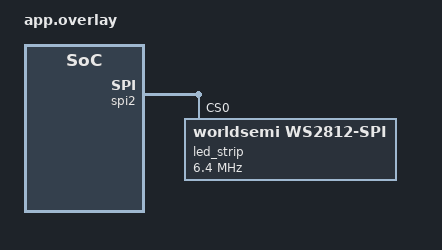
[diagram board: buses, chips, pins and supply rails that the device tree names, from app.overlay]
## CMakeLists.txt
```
cmake_minimum_required(VERSION 3.28.0)

project(atcmd_zephyr_demo LANGUAGES CXX)

message(STATUS "ENV_PATH=$ENV{PATH}")
message(STATUS "ZEPHYR_BASE=$ENV{ZEPHYR_BASE}")

find_package(Zephyr REQUIRED HINTS $ENV{ZEPHYR_BASE})

target_sources(app PRIVATE src/main.cpp
    src/commands/extended/rgb.h src/commands/extended/rgb.cpp
    src/hwserial.h src/hwserial.cpp
    src/atserver.h src/atserver.cpp
    src/bleserial.h src/bleserial.cpp
    src/serial.h src/serial.cpp)

# A workaround to bypass Zephyr`s compiler check
# See: https://github.com/zephyrproject-rtos/zephyr/issues/36558#issuecomment-914038682
set(CMAKE_CXX_COMPILE_FEATURES cxx_std_23)

add_subdirectory(${CMAKE_CURRENT_LIST_DIR}/../../lib atcmd_lib)
target_link_libraries(app PRIVATE atcmd)

target_compile_options(atcmd PUBLIC -std=c++23)
target_link_libraries(atcmd PUBLIC $<BUILD_INTERFACE:zephyr_interface>)


# Flashing the esp32 chip using the west utility
set(ESP_PORT "" CACHE STRING "Serial port for flashing (e.g., /dev/cu.wchusbserial110)")
set(FLASH_ARGS "")
if(NOT "${ESP_PORT}" STREQUAL "")
    set(FLASH_ARGS "--esp-device=${ESP_PORT}")
endif()
install(CODE "
    message(STATUS \"Flashing firmware to device...\")
    execute_process(
        COMMAND west flash --no-rebuild ${FLASH_ARGS}
        WORKING_DIRECTORY ${CMAKE_BINARY_DIR}
    )
" COMPONENT flash)
```

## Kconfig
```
# SPDX-License-Identifier: Apache-2.0

mainmenu "Atcmd Zephyr Example"

module = BLESERIAL
module-str = bleserial
source "subsys/logging/Kconfig.template.log_config"

config $(module)_TX_TIMEOUT
        int "AT command responses are sent after this timeout in ms has expired even if there are no flushing characters"
        default 100

module = HWSERIAL
module-str = hwserial
source "subsys/logging/Kconfig.template.log_config"

# Sources Kconfig.zephyr in the Zephyr root directory.
#
# Note: All 'source' statements work relative to the Zephyr root directory (due
# to the $srctree environment variable being set to $ZEPHYR_BASE). If you want
# to 'source' relative to the current Kconfig file instead, use 'rsource' (or a
# path relative to the Zephyr root).
source "Kconfig.zephyr"
```

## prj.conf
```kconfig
# Enable C++ support in the build system
CONFIG_CPP=y
CONFIG_STD_CPP23=y

# Use the C++ standard library (e.g., std::string, std::vector)
CONFIG_REQUIRES_FULL_LIBCPP=y

# UART IRQ config
CONFIG_UART_INTERRUPT_DRIVEN=y

# RGB LED driver
CONFIG_SPI=y
CONFIG_LED_STRIP=y

# Bluetooth
CONFIG_BT=y
CONFIG_BT_PERIPHERAL=y
CONFIG_BT_DEVICE_NAME="Server"

# Polling API
CONFIG_POLL=y

# Enable logging
CONFIG_LOG=y
CONFIG_BLESERIAL_LOG_LEVEL_DBG=y
CONFIG_HWSERIAL_LOG_LEVEL_DBG=y
```

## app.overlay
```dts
/*
/ {
    test_leds {
        compatible = "gpio-leds";
        pin8: pin_8 {
            gpios = <&gpio0 8 GPIO_ACTIVE_HIGH>;
            label = "Test Pin 8";
        };
    };
    aliases {
        test-pin8 = &pin8;
    };
};
*/

#include <zephyr/dt-bindings/led/led.h>

&spi2 {
	/* Workaround to support WS2812 driver */
	line-idle-low;

	led_strip: ws2812@0 {
		compatible = "worldsemi,ws2812-spi";

		/* SPI */
		reg = <0>; /* ignored, but necessary for SPI bindings */
		spi-max-frequency = <6400000>;

		/* WS2812 */
		chain-length = <1>; /* arbitrary; change at will */
		spi-cpha;
		spi-one-frame = <0xf0>; /* 11110000: 625 ns high and 625 ns low */
		spi-zero-frame = <0xc0>; /* 11000000: 312.5 ns high and 937.5 ns low */
		color-mapping = <LED_COLOR_ID_GREEN
				 LED_COLOR_ID_RED
				 LED_COLOR_ID_BLUE>;
	};
};

&pinctrl {
	spim2_default: spim2_default {
		group2 {
			pinmux = <SPIM2_MOSI_GPIO8>;
		};
	};
};

/ {
	aliases {
		led-strip = &led_strip;
	};
};
```

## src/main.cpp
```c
/**
* Copyright © 2025 Valentin Gorelov
*
* Permission is hereby granted, free of charge, to any person obtaining a copy of this software and associated
* documentation files (the “Software”), to deal in the Software without restriction,
* including without limitation the rights to use, copy, modify, merge, publish, distribute, sublicense,
* and/or sell copies of the Software, and to permit persons to whom the Software is furnished to do so,
* subject to the following conditions:
*
* The above copyright notice and this permission notice
* shall be included in all copies or substantial portions of the Software.
*
* THE SOFTWARE IS PROVIDED “AS IS”, WITHOUT WARRANTY OF ANY KIND, EXPRESS OR IMPLIED,
* INCLUDING BUT NOT LIMITED TO THE WARRANTIES OF MERCHANTABILITY, FITNESS FOR A PARTICULAR PURPOSE AND NONINFRINGEMENT.
* IN NO EVENT SHALL THE AUTHORS OR COPYRIGHT HOLDERS BE LIABLE FOR ANY CLAIM, DAMAGES OR OTHER LIABILITY,
* WHETHER IN AN ACTION OF CONTRACT, TORT OR OTHERWISE, ARISING FROM,
* OUT OF OR IN CONNECTION WITH THE SOFTWARE OR THE USE OR OTHER DEALINGS IN THE SOFTWARE.
*/

/**
 * @brief
 * @author Valentin Gorelov <gorelov.valentin@gmail.com>
 */

#include <zephyr/kernel.h>

#include "atserver.h"
#include "bleserial.h"
#include "hwserial.h"

#define UART_DEVICE_NODE DT_CHOSEN(zephyr_shell_uart)
static const device* const uart_dev = DEVICE_DT_GET(UART_DEVICE_NODE);

K_PIPE_DEFINE(uart_rx_pipe, 128, 1);
K_PIPE_DEFINE(uart_tx_pipe, 128, 1);

K_PIPE_DEFINE(ble_rx_pipe, 128, 1);
K_PIPE_DEFINE(ble_tx_pipe, 128, 1);

static struct k_poll_event events[4] = {
    K_POLL_EVENT_STATIC_INITIALIZER(K_POLL_TYPE_PIPE_DATA_AVAILABLE, K_POLL_MODE_NOTIFY_ONLY, &uart_rx_pipe, 0),
    K_POLL_EVENT_STATIC_INITIALIZER(K_POLL_TYPE_PIPE_DATA_AVAILABLE, K_POLL_MODE_NOTIFY_ONLY, &uart_tx_pipe, 0),
    K_POLL_EVENT_STATIC_INITIALIZER(K_POLL_TYPE_PIPE_DATA_AVAILABLE, K_POLL_MODE_NOTIFY_ONLY, &ble_rx_pipe, 0),
    K_POLL_EVENT_STATIC_INITIALIZER(K_POLL_TYPE_PIPE_DATA_AVAILABLE, K_POLL_MODE_NOTIFY_ONLY, &ble_tx_pipe, 0),
};

int main(void)
{
    AtServer server_serial(uart_rx_pipe, events[0], uart_tx_pipe);
    HwSerial hw_serial(*uart_dev, uart_rx_pipe, uart_tx_pipe, events[1]);

    AtServer server_ble(ble_rx_pipe, events[2], ble_tx_pipe);
    BleSerial hw_ble(server_ble, ble_rx_pipe, ble_tx_pipe, events[3]);

	while (true)
	{
		int rc = k_poll(events, ARRAY_SIZE(events), K_FOREVER);
		if (rc == 0)
		{
            server_serial.processRxData();
            hw_serial.processTxData();

            server_ble.processRxData();
            hw_ble.processTxData();
        }
        events[0].state = K_POLL_STATE_NOT_READY;
        events[1].state = K_POLL_STATE_NOT_READY;
        events[2].state = K_POLL_STATE_NOT_READY;
        events[3].state = K_POLL_STATE_NOT_READY;
    }

	return 0;
}
```

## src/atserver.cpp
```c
/**
 * Copyright © 2026 Valentin Gorelov
 *
 * Permission is hereby granted, free of charge, to any person obtaining a copy of this software and associated
 * documentation files (the “Software”), to deal in the Software without restriction,
 * including without limitation the rights to use, copy, modify, merge, publish, distribute, sublicense,
 * and/or sell copies of the Software, and to permit persons to whom the Software is furnished to do so,
 * subject to the following conditions:
 *
 * The above copyright notice and this permission notice
 * shall be included in all copies or substantial portions of the Software.
 *
 * THE SOFTWARE IS PROVIDED “AS IS”, WITHOUT WARRANTY OF ANY KIND, EXPRESS OR IMPLIED,
 * INCLUDING BUT NOT LIMITED TO THE WARRANTIES OF MERCHANTABILITY, FITNESS FOR A PARTICULAR PURPOSE AND NONINFRINGEMENT.
 * IN NO EVENT SHALL THE AUTHORS OR COPYRIGHT HOLDERS BE LIABLE FOR ANY CLAIM, DAMAGES OR OTHER LIABILITY,
 * WHETHER IN AN ACTION OF CONTRACT, TORT OR OTHERWISE, ARISING FROM,
 * OUT OF OR IN CONNECTION WITH THE SOFTWARE OR THE USE OR OTHER DEALINGS IN THE SOFTWARE.
 */

/**
 * @brief
 * @author Valentin Gorelov <gorelov.valentin@gmail.com>
 */

#include "atserver.h"

AtServer::AtServer(k_pipe& rx_pipe, k_poll_event& rx_event, k_pipe& tx_pipe) :
    Server{printCharCallback, this},
    m_rx_pipe{rx_pipe},
    m_rx_event{rx_event},
    m_tx_pipe{tx_pipe}
{
}

void AtServer::processRxData()
{
    if (m_rx_event.state == K_POLL_STATE_PIPE_DATA_AVAILABLE)
    {
        uint8_t data;
        while (k_pipe_read(&m_rx_pipe, &data, 1, K_NO_WAIT) > 0)
        {
            feed(static_cast<char>(data));
        }
    }
}

void AtServer::printCharCallback(char ch, void* context)
{
    uint8_t vl = ch;
    AtServer* server = static_cast<AtServer*>(context);
    k_pipe_write(&server->m_tx_pipe, &vl, 1, K_NO_WAIT);
}
```

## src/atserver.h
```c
/**
 * Copyright © 2026 Valentin Gorelov
 *
 * Permission is hereby granted, free of charge, to any person obtaining a copy of this software and associated
 * documentation files (the “Software”), to deal in the Software without restriction,
 * including without limitation the rights to use, copy, modify, merge, publish, distribute, sublicense,
 * and/or sell copies of the Software, and to permit persons to whom the Software is furnished to do so,
 * subject to the following conditions:
 *
 * The above copyright notice and this permission notice
 * shall be included in all copies or substantial portions of the Software.
 *
 * THE SOFTWARE IS PROVIDED “AS IS”, WITHOUT WARRANTY OF ANY KIND, EXPRESS OR IMPLIED,
 * INCLUDING BUT NOT LIMITED TO THE WARRANTIES OF MERCHANTABILITY, FITNESS FOR A PARTICULAR PURPOSE AND NONINFRINGEMENT.
 * IN NO EVENT SHALL THE AUTHORS OR COPYRIGHT HOLDERS BE LIABLE FOR ANY CLAIM, DAMAGES OR OTHER LIABILITY,
 * WHETHER IN AN ACTION OF CONTRACT, TORT OR OTHERWISE, ARISING FROM,
 * OUT OF OR IN CONNECTION WITH THE SOFTWARE OR THE USE OR OTHER DEALINGS IN THE SOFTWARE.
 */

/**
 * @brief
 * @author Valentin Gorelov <gorelov.valentin@gmail.com>
 */

#ifndef ATSERVER_H
#define ATSERVER_H

#include <zephyr/kernel.h>

#include "commands/extended/rgb.h"
#include <atcmd/server/server.h>

struct ServerSettings
{
    using BasicCommands = atcmd::server::BasicCommandList<>;
    using AmpersandCommands = atcmd::server::AmpersandCommandList<>;
    using ExtendedCommands = atcmd::server::ExtendedCommandList<Rgb>;

    static constexpr std::size_t max_commands_per_line = 3;
};

struct AtServer : public atcmd::server::Server<ServerSettings>
{
    AtServer(k_pipe& rx_pipe, k_poll_event& rx_event, k_pipe& tx_pipe);

    void processRxData();

private:
    static void printCharCallback(char ch, void* context);

    k_pipe& m_rx_pipe;
    k_poll_event& m_rx_event;

    k_pipe& m_tx_pipe;
};

#endif // ATSERVER_H
```

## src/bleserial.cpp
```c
/**
 * Copyright © 2026 Valentin Gorelov
 *
 * Permission is hereby granted, free of charge, to any person obtaining a copy of this software and associated
 * documentation files (the “Software”), to deal in the Software without restriction,
 * including without limitation the rights to use, copy, modify, merge, publish, distribute, sublicense,
 * and/or sell copies of the Software, and to permit persons to whom the Software is furnished to do so,
 * subject to the following conditions:
 *
 * The above copyright notice and this permission notice
 * shall be included in all copies or substantial portions of the Software.
 *
 * THE SOFTWARE IS PROVIDED “AS IS”, WITHOUT WARRANTY OF ANY KIND, EXPRESS OR IMPLIED,
 * INCLUDING BUT NOT LIMITED TO THE WARRANTIES OF MERCHANTABILITY, FITNESS FOR A PARTICULAR PURPOSE AND NONINFRINGEMENT.
 * IN NO EVENT SHALL THE AUTHORS OR COPYRIGHT HOLDERS BE LIABLE FOR ANY CLAIM, DAMAGES OR OTHER LIABILITY,
 * WHETHER IN AN ACTION OF CONTRACT, TORT OR OTHERWISE, ARISING FROM,
 * OUT OF OR IN CONNECTION WITH THE SOFTWARE OR THE USE OR OTHER DEALINGS IN THE SOFTWARE.
 */

/**
 * @brief
 * @author Valentin Gorelov <gorelov.valentin@gmail.com>
 */

#include "bleserial.h"

#include <zephyr/bluetooth/conn.h>
#include <zephyr/bluetooth/hci.h>
#include <zephyr/bluetooth/uuid.h>
#include <zephyr/logging/log.h>
#include <zephyr/net_buf.h>

#include <algorithm>

LOG_MODULE_REGISTER(bleserial, CONFIG_BLESERIAL_LOG_LEVEL);

/****************************** UART Service IDs ******************************/
/* Service UUID 6E400001-B5A3-F393-­E0A9-­E50E24DCCA9E */
// See: https://learn.adafruit.com/introducing-adafruit-ble-bluetooth-low-energy-friend/uart-service
static const struct bt_uuid_128 uart_uuid =
    BT_UUID_INIT_128(BT_UUID_128_ENCODE(0x6E400001, 0xB5A3, 0xF393, 0xE0A9, 0xE50E24DCCA9E));

/* TX characteristic UUID 0x0002 */
static const struct bt_uuid_128 tx_uuid =
    BT_UUID_INIT_128(BT_UUID_128_ENCODE(0x6E400002, 0xB5A3, 0xF393, 0xE0A9, 0xE50E24DCCA9E));

/* RX characteristic UUID 0x0003 */
static const struct bt_uuid_128 rx_uuid =
    BT_UUID_INIT_128(BT_UUID_128_ENCODE(0x6E400003, 0xB5A3, 0xF393, 0xE0A9, 0xE50E24DCCA9E));

/****************************** BLE ******************************/
static const struct bt_data ad_uart[] = {
    BT_DATA_BYTES(BT_DATA_FLAGS, BT_LE_AD_GENERAL | BT_LE_AD_NO_BREDR),
    // UART service ID: 6E400001-B5A3-F393-­E0A9-­E50E24DCCA9E
    // TODO: remove duplicate
    BT_DATA_BYTES(BT_DATA_UUID128_ALL, 0x9E, 0xCA, 0xDC, 0x24, 0x0E, 0xE5, 0xA9, 0xE0, 0x93, 0xF3, 0xA3, 0xB5, 0x01,
                  0x00, 0x40, 0x6E),
};

#define DEVICE_NAME CONFIG_BT_DEVICE_NAME
#define DEVICE_NAME_LEN (sizeof(DEVICE_NAME) - 1)

static const struct bt_data sd_uart[] = {
    BT_DATA(BT_DATA_NAME_COMPLETE, CONFIG_BT_DEVICE_NAME, DEVICE_NAME_LEN),
};

static BleSerial* l_server_instance;
extern const struct bt_gatt_attr* rx_attr;

static uint8_t simulate_vnd;
static void vnd_ccc_cfg_changed(const struct bt_gatt_attr* attr, uint16_t value)
{
    simulate_vnd = (value == BT_GATT_CCC_INDICATE) ? 1 : 0;
}

BT_GATT_SERVICE_DEFINE(uart_svc, BT_GATT_PRIMARY_SERVICE(&uart_uuid),
                       BT_GATT_CHARACTERISTIC(&tx_uuid.uuid, BT_GATT_CHRC_WRITE, BT_GATT_PERM_WRITE, NULL,
                                              BleSerial::writeCb, NULL),
                       BT_GATT_CHARACTERISTIC(&rx_uuid.uuid, BT_GATT_CHRC_READ | BT_GATT_CHRC_NOTIFY, BT_GATT_PERM_READ,
                                              BleSerial::readCb, NULL, NULL),
                       BT_GATT_CCC(vnd_ccc_cfg_changed, BT_GATT_PERM_READ | BT_GATT_PERM_WRITE), );

const struct bt_gatt_attr* rx_attr = &uart_svc.attrs[3];

/* Handling BLE connection and disconnection */
/* Advertising should be reenabled after a disconnect event */
static void readvertise(struct k_work* work)
{
    int err;

    bt_le_adv_stop();
    err = bt_le_adv_start(BT_LE_ADV_CONN_FAST_1, ad_uart, ARRAY_SIZE(ad_uart), sd_uart, ARRAY_SIZE(sd_uart));
    if (err)
    {
        LOG_ERR("Advertising failed to start. Errcode: %d", err);
        return;
    }
}
K_WORK_DELAYABLE_DEFINE(readvertise_work, readvertise);

static void connected(struct bt_conn* conn, uint8_t err)
{
    if (err)
    {
        LOG_DBG("Connection failed. Errcode: %d. Error description: %s", err, bt_hci_err_to_str(err));
    }
    else
    {
        LOG_DBG("Connected");
    }
}

static void disconnected(struct bt_conn* conn, uint8_t reason)
{
    LOG_DBG("Disconnected, reason 0x%02x %s", reason, bt_hci_err_to_str(reason));
    k_work_reschedule(&readvertise_work, K_NO_WAIT);
}

BT_CONN_CB_DEFINE(conn_callbacks) = {
    .connected = connected,
    .disconnected = disconnected,
};

/* Handling BLE TX */
NET_BUF_POOL_DEFINE(ble_tx_pool, 2, CONFIG_BT_L2CAP_TX_MTU - 3, 0, NULL);
static net_buf* current_tx_buf;
K_MUTEX_DEFINE(current_tx_buf_mutex);

static void ble_send(struct k_work* work)
{
    auto tx_data = [](struct bt_conn* conn, void*)
    {
        k_mutex_lock(&current_tx_buf_mutex, K_FOREVER);
        net_buf* tx_buf = current_tx_buf;
        current_tx_buf = nullptr;
        k_mutex_unlock(&current_tx_buf_mutex);

        std::size_t mtu = bt_gatt_get_mtu(conn) - 3;
        uint8_t* data = tx_buf->data;
        std::size_t len = tx_buf->len;
        while (len != 0)
        {
            std::size_t tx_sz = std::min(mtu, len);
            LOG_DBG("BLE TX: sending %d bytes", tx_sz);
            int r = bt_gatt_notify(conn, rx_attr, tx_buf->data, tx_sz);
            if (r != 0)
            {
                LOG_ERR("Can not send BLE data. Errcode: %d", r);
                return;
            }
            else
            {
                LOG_DBG("BLE TX: %d bytes sent", tx_sz);
                data += tx_sz;
                len -= tx_sz;
            }
        }

        net_buf_unref(tx_buf);
    };

    bt_conn_foreach(BT_CONN_TYPE_LE, tx_data, nullptr);
}
K_WORK_DELAYABLE_DEFINE(send_work, ble_send);

BleSerial::BleSerial(AtServer& at_server, k_pipe& rx_pipe, k_pipe& tx_pipe, k_poll_event& tx_event) :
    Serial{rx_pipe, tx_pipe, tx_event},
    m_at_server{at_server}
{
    char addr_s[BT_ADDR_LE_STR_LEN];
    struct bt_le_oob oob;

    l_server_instance = this;

    m_at_server.getCommunicationParameters().setEchoEnabled(false);

    int r = bt_enable(NULL);
    if (r != 0)
    {
        LOG_ERR("Can not initialize BLE. Errcode: %d", r);

        return;
    }

    LOG_DBG("Bluetooth initialized");

    /* Start advertising */
    r = bt_le_adv_start(BT_LE_ADV_CONN_FAST_1, ad_uart, ARRAY_SIZE(ad_uart), sd_uart, ARRAY_SIZE(sd_uart));
    if (r)
    {
        printk("Advertising failed to start. Errcode: %d", r);
        return;
    }

    /* Print the advertising address */
    bt_le_oob_get_local(BT_ID_DEFAULT, &oob);
    bt_addr_le_to_str(&oob.addr, addr_s, sizeof(addr_s));
    LOG_DBG("Initial advertising as %s", addr_s);
}

void BleSerial::processTxData()
{
    auto tx_data = [](struct bt_conn* conn, void* data)
    {
        k_mutex_lock(&current_tx_buf_mutex, K_FOREVER);
        if (current_tx_buf == nullptr)
        {
            current_tx_buf = net_buf_alloc(&ble_tx_pool, K_FOREVER);
        }

        std::size_t tailroom = net_buf_tailroom(current_tx_buf);
        std::size_t mtu = bt_gatt_get_mtu(conn) - 3;
        std::size_t tx_size = std::min(tailroom, mtu);

        BleSerial* server = reinterpret_cast<BleSerial*>(data);
        auto& cp = server->m_at_server.getCommunicationParameters();
        uint8_t ch;

        k_work_schedule(&send_work, K_MSEC(CONFIG_BLESERIAL_TX_TIMEOUT));
        while (k_pipe_read(&server->m_tx_pipe, &ch, 1, K_NO_WAIT) > 0)
        {
            net_buf_add_u8(current_tx_buf, ch);
            tx_size--;
            bool flush =
                (tx_size == 0) || (ch == cp.getCmdLineTerminationChar()) || (ch == cp.getResponseFormattingChar());
            if (flush)
            {
                LOG_DBG("BLE TX flushed");
                k_work_reschedule(&send_work, K_NO_WAIT);
            }
        }

        k_mutex_unlock(&current_tx_buf_mutex);
    };

    if (m_tx_event.state == K_POLL_STATE_PIPE_DATA_AVAILABLE)
    {
        bt_conn_foreach(BT_CONN_TYPE_LE, tx_data, this);
    }
}

ssize_t BleSerial::readCb(struct bt_conn* conn, const struct bt_gatt_attr* attr, void* buf, uint16_t len,
                          uint16_t offset)
{
    LOG_DBG("Read callback called");

    return 0;
}

ssize_t BleSerial::writeCb(struct bt_conn* conn, const struct bt_gatt_attr* attr, const void* buf, uint16_t len,
                           uint16_t offset, uint8_t flags)
{
    LOG_DBG("Write callback called");
    k_pipe_write(&l_server_instance->m_rx_pipe, reinterpret_cast<const uint8_t*>(buf), len, K_NO_WAIT);
    return len;
}
```

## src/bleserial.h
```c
/**
 * Copyright © 2026 Valentin Gorelov
 *
 * Permission is hereby granted, free of charge, to any person obtaining a copy of this software and associated
 * documentation files (the “Software”), to deal in the Software without restriction,
 * including without limitation the rights to use, copy, modify, merge, publish, distribute, sublicense,
 * and/or sell copies of the Software, and to permit persons to whom the Software is furnished to do so,
 * subject to the following conditions:
 *
 * The above copyright notice and this permission notice
 * shall be included in all copies or substantial portions of the Software.
 *
 * THE SOFTWARE IS PROVIDED “AS IS”, WITHOUT WARRANTY OF ANY KIND, EXPRESS OR IMPLIED,
 * INCLUDING BUT NOT LIMITED TO THE WARRANTIES OF MERCHANTABILITY, FITNESS FOR A PARTICULAR PURPOSE AND NONINFRINGEMENT.
 * IN NO EVENT SHALL THE AUTHORS OR COPYRIGHT HOLDERS BE LIABLE FOR ANY CLAIM, DAMAGES OR OTHER LIABILITY,
 * WHETHER IN AN ACTION OF CONTRACT, TORT OR OTHERWISE, ARISING FROM,
 * OUT OF OR IN CONNECTION WITH THE SOFTWARE OR THE USE OR OTHER DEALINGS IN THE SOFTWARE.
 */

/**
 * @brief
 * @author Valentin Gorelov <gorelov.valentin@gmail.com>
 */

#ifndef BLESERIAL_H
#define BLESERIAL_H

#include <zephyr/bluetooth/bluetooth.h>
#include <zephyr/bluetooth/gatt.h>

#include "atserver.h"
#include "serial.h"

struct BleSerial : public Serial
{
    BleSerial(AtServer& at_server, k_pipe& rx_pipe, k_pipe& tx_pipe, k_poll_event& tx_event);

    void processTxData();

    static ssize_t readCb(struct bt_conn* conn, const struct bt_gatt_attr* attr, void* buf, uint16_t len,
                          uint16_t offset);
    static ssize_t writeCb(struct bt_conn* conn, const struct bt_gatt_attr* attr, const void* buf, uint16_t len,
                           uint16_t offset, uint8_t flags);

private:
    AtServer& m_at_server;
};

#endif // BLESERIAL_H
```

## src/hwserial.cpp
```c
/**
* Copyright © 2026 Valentin Gorelov
*
* Permission is hereby granted, free of charge, to any person obtaining a copy of this software and associated
* documentation files (the “Software”), to deal in the Software without restriction,
* including without limitation the rights to use, copy, modify, merge, publish, distribute, sublicense,
* and/or sell copies of the Software, and to permit persons to whom the Software is furnished to do so,
* subject to the following conditions:
*
* The above copyright notice and this permission notice
* shall be included in all copies or substantial portions of the Software.
*
* THE SOFTWARE IS PROVIDED “AS IS”, WITHOUT WARRANTY OF ANY KIND, EXPRESS OR IMPLIED,
* INCLUDING BUT NOT LIMITED TO THE WARRANTIES OF MERCHANTABILITY, FITNESS FOR A PARTICULAR PURPOSE AND NONINFRINGEMENT.
* IN NO EVENT SHALL THE AUTHORS OR COPYRIGHT HOLDERS BE LIABLE FOR ANY CLAIM, DAMAGES OR OTHER LIABILITY,
* WHETHER IN AN ACTION OF CONTRACT, TORT OR OTHERWISE, ARISING FROM,
* OUT OF OR IN CONNECTION WITH THE SOFTWARE OR THE USE OR OTHER DEALINGS IN THE SOFTWARE.
*/

/**
 * @brief
 * @author Valentin Gorelov <gorelov.valentin@gmail.com>
 */

#include "hwserial.h"

#include <zephyr/device.h>
#include <zephyr/drivers/uart.h>
#include <zephyr/logging/log.h>

LOG_MODULE_REGISTER(hwserial, CONFIG_HWSERIAL_LOG_LEVEL);

HwSerial::HwSerial(const device& uart_dev, k_pipe& rx_pipe, k_pipe& tx_pipe, k_poll_event& tx_event) :
    Serial{rx_pipe, tx_pipe, tx_event},
    m_uart_dev{uart_dev}
{
    int r = uart_irq_callback_user_data_set(&m_uart_dev, usartIrqCb, this);
    if (r != 0)
    {
        LOG_ERR("Can not initialize UART RX. Errcode: %d", r);

        return;
    }
    uart_irq_rx_enable(&m_uart_dev);
}

void HwSerial::processTxData()
{
    if (m_tx_event.state == K_POLL_STATE_PIPE_DATA_AVAILABLE)
    {
        uart_irq_tx_enable(&m_uart_dev);
    }
}

void HwSerial::usartIrqCb(const device* uart_dev, void* user_data)
{
    uart_irq_update(uart_dev);

    uint8_t data;
    HwSerial& instance = *static_cast<HwSerial*>(user_data);

    if (uart_irq_rx_ready(uart_dev))
    {
        while (uart_fifo_read(uart_dev, &data, 1))
        {
            k_pipe_write(&instance.m_rx_pipe, &data, 1, K_NO_WAIT);
        }
    }

    if (uart_irq_tx_ready(uart_dev))
    {
        if (k_pipe_read(&instance.m_tx_pipe, &data, 1, K_NO_WAIT) > 0)
        {
            uart_fifo_fill(uart_dev, &data, 1);
        }
        else
        {
            uart_irq_tx_disable(uart_dev);
        }
    }
}
```

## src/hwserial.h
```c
/**
 * Copyright © 2026 Valentin Gorelov
 *
 * Permission is hereby granted, free of charge, to any person obtaining a copy of this software and associated
 * documentation files (the “Software”), to deal in the Software without restriction,
 * including without limitation the rights to use, copy, modify, merge, publish, distribute, sublicense,
 * and/or sell copies of the Software, and to permit persons to whom the Software is furnished to do so,
 * subject to the following conditions:
 *
 * The above copyright notice and this permission notice
 * shall be included in all copies or substantial portions of the Software.
 *
 * THE SOFTWARE IS PROVIDED “AS IS”, WITHOUT WARRANTY OF ANY KIND, EXPRESS OR IMPLIED,
 * INCLUDING BUT NOT LIMITED TO THE WARRANTIES OF MERCHANTABILITY, FITNESS FOR A PARTICULAR PURPOSE AND NONINFRINGEMENT.
 * IN NO EVENT SHALL THE AUTHORS OR COPYRIGHT HOLDERS BE LIABLE FOR ANY CLAIM, DAMAGES OR OTHER LIABILITY,
 * WHETHER IN AN ACTION OF CONTRACT, TORT OR OTHERWISE, ARISING FROM,
 * OUT OF OR IN CONNECTION WITH THE SOFTWARE OR THE USE OR OTHER DEALINGS IN THE SOFTWARE.
 */

/**
 * @brief
 * @author Valentin Gorelov <gorelov.valentin@gmail.com>
 */

#ifndef HWSERIAL_H
#define HWSERIAL_H

#include <zephyr/device.h>

#include "serial.h"

struct HwSerial : public Serial
{
    HwSerial(const device& uart_dev, k_pipe& rx_pipe, k_pipe& tx_pipe, k_poll_event& tx_event);

    void processTxData();

private:
    static void usartIrqCb(const device* uart_dev, void* user_data);

    const struct device& m_uart_dev;
};

#endif // HWSERIAL_H
```

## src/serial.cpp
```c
/**
 * Copyright © 2026 Valentin Gorelov
 *
 * Permission is hereby granted, free of charge, to any person obtaining a copy of this software and associated
 * documentation files (the “Software”), to deal in the Software without restriction,
 * including without limitation the rights to use, copy, modify, merge, publish, distribute, sublicense,
 * and/or sell copies of the Software, and to permit persons to whom the Software is furnished to do so,
 * subject to the following conditions:
 *
 * The above copyright notice and this permission notice
 * shall be included in all copies or substantial portions of the Software.
 *
 * THE SOFTWARE IS PROVIDED “AS IS”, WITHOUT WARRANTY OF ANY KIND, EXPRESS OR IMPLIED,
 * INCLUDING BUT NOT LIMITED TO THE WARRANTIES OF MERCHANTABILITY, FITNESS FOR A PARTICULAR PURPOSE AND NONINFRINGEMENT.
 * IN NO EVENT SHALL THE AUTHORS OR COPYRIGHT HOLDERS BE LIABLE FOR ANY CLAIM, DAMAGES OR OTHER LIABILITY,
 * WHETHER IN AN ACTION OF CONTRACT, TORT OR OTHERWISE, ARISING FROM,
 * OUT OF OR IN CONNECTION WITH THE SOFTWARE OR THE USE OR OTHER DEALINGS IN THE SOFTWARE.
 */

/**
 * @brief
 * @author Valentin Gorelov <gorelov.valentin@gmail.com>
 */

#include "serial.h"

Serial::Serial(k_pipe& rx_pipe, k_pipe& tx_pipe, k_poll_event& tx_event) :
    m_rx_pipe{rx_pipe},
    m_tx_pipe{tx_pipe},
    m_tx_event{tx_event}
{
}
```

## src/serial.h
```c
/**
 * Copyright © 2026 Valentin Gorelov
 *
 * Permission is hereby granted, free of charge, to any person obtaining a copy of this software and associated
 * documentation files (the “Software”), to deal in the Software without restriction,
 * including without limitation the rights to use, copy, modify, merge, publish, distribute, sublicense,
 * and/or sell copies of the Software, and to permit persons to whom the Software is furnished to do so,
 * subject to the following conditions:
 *
 * The above copyright notice and this permission notice
 * shall be included in all copies or substantial portions of the Software.
 *
 * THE SOFTWARE IS PROVIDED “AS IS”, WITHOUT WARRANTY OF ANY KIND, EXPRESS OR IMPLIED,
 * INCLUDING BUT NOT LIMITED TO THE WARRANTIES OF MERCHANTABILITY, FITNESS FOR A PARTICULAR PURPOSE AND NONINFRINGEMENT.
 * IN NO EVENT SHALL THE AUTHORS OR COPYRIGHT HOLDERS BE LIABLE FOR ANY CLAIM, DAMAGES OR OTHER LIABILITY,
 * WHETHER IN AN ACTION OF CONTRACT, TORT OR OTHERWISE, ARISING FROM,
 * OUT OF OR IN CONNECTION WITH THE SOFTWARE OR THE USE OR OTHER DEALINGS IN THE SOFTWARE.
 */

/**
 * @brief
 * @author Valentin Gorelov <gorelov.valentin@gmail.com>
 */

#ifndef SERIAL_H
#define SERIAL_H

#include <zephyr/kernel.h>

struct Serial
{
    Serial(k_pipe& rx_pipe, k_pipe& tx_pipe, k_poll_event& tx_event);

protected:
    k_pipe& m_rx_pipe;

    k_pipe& m_tx_pipe;
    k_poll_event& m_tx_event;
};

#endif // SERIAL_H
```
